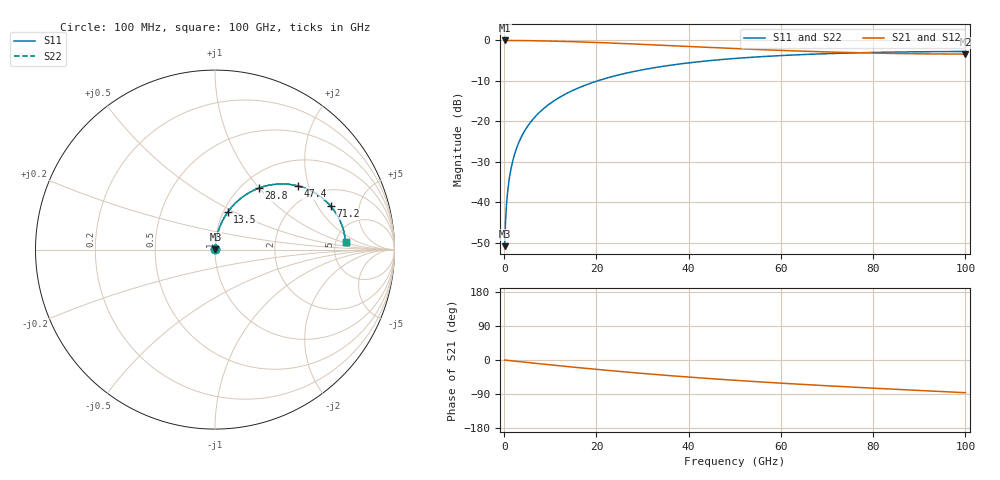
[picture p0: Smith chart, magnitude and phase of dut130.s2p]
! Touchstone file exported from HFSS 2026.1.0
!  File:  C:/ffzhzh/LocalFiles/Ansys_Project_Files/temp_train_RDL_130_1783499579_41296.aedt
!  Generated:  04:34:06 PM Jul  8, 2026
!  Design:  RDL
!  Project:  temp_train_RDL_130_1783499579_41296
! Variables:
!  h_bsmrdl = 2um
!  h_ox = 20um
!  h_rdl = 5um
!  h_sub = 80um
!  h_tmrdl = 4.07um
!  h_tsv = 80um
!  h_via = 3um
!  l_bsmrdl = 300um
!  l_sub = 667.4um
!  l_tmrdl = 267.4um
!  m_sub = 200um
!  pitch = 52.32um
!  r_tsv = 6um
!  s_tmrdl = 10um
!  w_bsmrdl = 18um
!  w_sub = 500um
!  w_tmrdl = 10.85um
!  x_tsv_center1 = 272.825um
!  x_tsv_center2 = 590.825um
!  x_tsv_center3 = 869.075um
!  x_tsv_center4 = 1187.075um
!  x_tsv_center5 = 1465.325um
!  x_tsv_center6 = 1783.325um
# GHz S MA R 50.000000
! Terminal data exported
! Port[1] = TM_RDL1_1_T1
! Port[2] = TM_RDL1_1_T2
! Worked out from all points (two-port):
!   1000 points, 100 MHz to 100 GHz, reference 50 ohm
!   highest |S21| = -0.02 dB at 100 MHz (marker M1); lowest = -3.4 dB at 100 GHz (marker M2)
!   |S21| within 3 dB of the highest: start of sweep to 75.24 GHz
!   lowest |S11| = -50.9 dB at 100 MHz (marker M3), VSWR 1.01, Z = 50.2 + j0.178 ohm
!   |S11| at or under -10 dB: start of sweep to 20.29 GHz
!   |S22| runs from -50.9 to -2.8 dB; largest |S21 - S12| = 7.4e-15
!   S11 on the Smith chart (normalised r, x): 100 MHz: 1.00, +0.00; 13.5 GHz: 1.05, +0.46; 28.8 GHz: 1.19, +0.99; 47.4 GHz: 1.59, +1.70; 71.2 GHz: 2.86, +2.62; 100 GHz: 6.18, +1.07
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0.1  0.002855 38.3  0.9978 -0.1  0.9978 -0.1  0.002855 38.3
! Gamma 0 0 0 0
! Port Impedance 50 0 50 0
0.4  0.00742 71.1  0.9976 -0.5  0.9976 -0.5  0.00742 71.1
0.8  0.01416 78.9  0.9974 -1.1  0.9974 -1.1  0.01416 78.9
1  0.01755 80.5  0.9973 -1.3  0.9973 -1.3  0.01755 80.5
1.3  0.02267 81.8  0.9972 -1.7  0.9972 -1.7  0.02267 81.8
1.7  0.02949 82.6  0.9969 -2.2  0.9969 -2.2  0.02949 82.6
2.2  0.03803 82.9  0.9965 -2.9  0.9965 -2.9  0.03803 82.9
3.4  0.05843 82.5  0.9952 -4.4  0.9952 -4.4  0.05843 82.5
5.1  0.08699 80.9  0.9925 -6.6  0.9925 -6.6  0.08699 80.9
7.3  0.1232 78.5  0.9879 -9.4  0.9879 -9.4  0.1232 78.5
10.1  0.1679 75.2  0.9803 -12.9  0.9803 -12.9  0.1679 75.2
13.5  0.22 71.2  0.969 -17.1  0.969 -17.1  0.22 71.3
16.8  0.2682 67.5  0.9562 -21.0  0.9562 -21.0  0.2682 67.5
22.3  0.3425 61.4  0.9315 -27.2  0.9315 -27.2  0.3425 61.4
28.8  0.4199 54.6  0.8989 -34.2  0.8989 -34.2  0.4199 54.6
33.4  0.4678 50.0  0.8748 -38.8  0.8748 -38.8  0.4678 50.1
47.4  0.5812 37.6  0.8044 -51.4  0.8044 -51.4  0.5812 37.7
50.1  0.5981 35.5  0.7921 -53.6  0.7921 -53.6  0.5981 35.6
66.7  0.6745 23.4  0.7292 -65.8  0.7292 -65.8  0.6745 23.6
71.2  0.6885 20.5  0.7164 -68.8  0.7164 -68.8  0.6885 20.6
83.4  0.7149 12.9  0.6906 -76.4  0.6906 -76.4  0.7149 13.1
100  0.7285 3.2  0.6765 -86.3  0.6765 -86.3  0.7285 3.4
